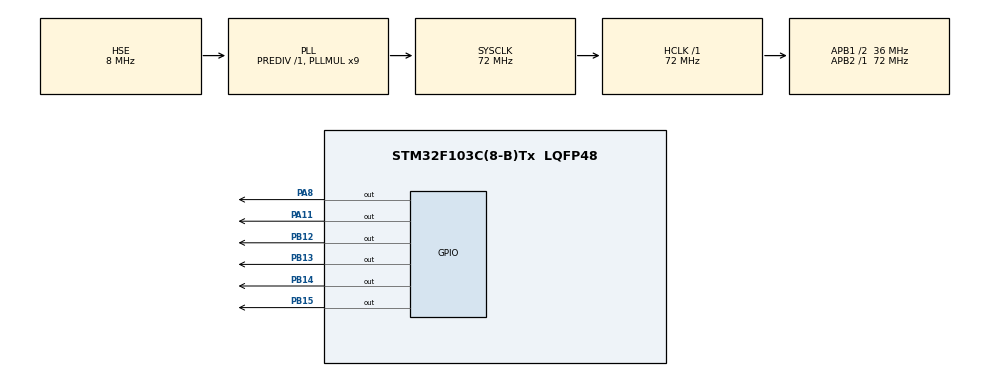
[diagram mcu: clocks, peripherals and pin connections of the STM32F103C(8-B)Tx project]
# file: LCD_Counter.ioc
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Mcu.Family=STM32F1
Mcu.Name=STM32F103C(8-B)Tx
Mcu.Package=LQFP48
NVIC.PriorityGroup=NVIC_PRIORITYGROUP_4
PA11.GPIO_ModeDefaultOutputPP=GPIO_MODE_OUTPUT_PP
PA11.GPIO_PuPd=GPIO_NOPULL
PA11.GPIO_Speed=GPIO_SPEED_FREQ_HIGH
PA11.PinState=GPIO_PIN_RESET
PA11.Signal=GPIO_Output
PA13.Mode=Serial_Wire
PA13.Signal=SYS_JTMS-SWDIO
PA14.Mode=Serial_Wire
PA14.Signal=SYS_JTCK-SWCLK
PA8.GPIO_ModeDefaultOutputPP=GPIO_MODE_OUTPUT_PP
PA8.GPIO_PuPd=GPIO_NOPULL
PA8.GPIO_Speed=GPIO_SPEED_FREQ_HIGH
PA8.PinState=GPIO_PIN_RESET
PA8.Signal=GPIO_Output
PB12.GPIO_ModeDefaultOutputPP=GPIO_MODE_OUTPUT_PP
PB12.GPIO_PuPd=GPIO_NOPULL
PB12.GPIO_Speed=GPIO_SPEED_FREQ_HIGH
PB12.PinState=GPIO_PIN_RESET
PB12.Signal=GPIO_Output
PB13.GPIO_ModeDefaultOutputPP=GPIO_MODE_OUTPUT_PP
PB13.GPIO_PuPd=GPIO_NOPULL
PB13.GPIO_Speed=GPIO_SPEED_FREQ_HIGH
PB13.PinState=GPIO_PIN_RESET
PB13.Signal=GPIO_Output
PB14.GPIO_ModeDefaultOutputPP=GPIO_MODE_OUTPUT_PP
PB14.GPIO_PuPd=GPIO_NOPULL
PB14.GPIO_Speed=GPIO_SPEED_FREQ_HIGH
PB14.PinState=GPIO_PIN_RESET
PB14.Signal=GPIO_Output
PB15.GPIO_ModeDefaultOutputPP=GPIO_MODE_OUTPUT_PP
PB15.GPIO_PuPd=GPIO_NOPULL
PB15.GPIO_Speed=GPIO_SPEED_FREQ_HIGH
PB15.PinState=GPIO_PIN_RESET
PB15.Signal=GPIO_Output
PD0-OSC_IN.Mode=HSE-External-Oscillator
PD0-OSC_IN.Signal=RCC_OSC_IN
PD1-OSC_OUT.Mode=HSE-External-Oscillator
PD1-OSC_OUT.Signal=RCC_OSC_OUT
ProjectManager.HeapSize=0x200
ProjectManager.StackSize=0x400
ProjectManager.TargetToolchain=STM32CubeIDE
RCC.AHBFreq_Value=72000000
RCC.APB1CLKDivider=RCC_HCLK_DIV2
RCC.APB1Freq_Value=36000000
RCC.APB1TimFreq_Value=72000000
RCC.APB2Freq_Value=72000000
RCC.APB2TimFreq_Value=72000000
RCC.HCLKFreq_Value=72000000
RCC.PLLMUL=RCC_PLL_MUL9
RCC.PLLSourceVirtual=RCC_PLLSOURCE_HSE
RCC.SYSCLKFreq_VALUE=72000000
RCC.SYSCLKSource=RCC_SYSCLKSOURCE_PLLCLK
RCC.USBFreq_Value=72000000
board=custom

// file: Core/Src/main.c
/* USER CODE BEGIN Header */
/**
  ******************************************************************************
  * @file           : main.c
  * @brief          : Main program body
  ******************************************************************************
  * @attention
  *
  * Copyright (c) 2024 STMicroelectronics.
  * All rights reserved.
  *
  * This software is licensed under terms that can be found in the LICENSE file
  * in the root directory of this software component.
  * If no LICENSE file comes with this software, it is provided AS-IS.
  *
  ******************************************************************************
  */
/* USER CODE END Header */
#include "main.h"

/* USER CODE BEGIN Includes */

#include <stdio.h>
#include "LCD1602_4Bits.h"

/* USER CODE END Includes */

/* USER CODE BEGIN PV */

char bufferLCD[16];
int count = 0;

/* USER CODE END PV */

void SystemClock_Config(void);
static void MX_GPIO_Init(void);

int main(void)
{

  /* MCU Configuration--------------------------------------------------------*/

  /* Reset of all peripherals, Initializes the Flash interface and the Systick. */
  HAL_Init();

  /* Configure the system clock */
  SystemClock_Config();

  /* Initialize all configured peripherals */
  MX_GPIO_Init();
  /* USER CODE BEGIN 2 */

  lcd_init();
  lcd_put_cur(0, 0);
  lcd_send_string("HELLO ");
  lcd_send_string("WORLD ");
  lcd_send_string("FROM");

  lcd_put_cur(1, 0);
  lcd_send_string("CARLOS SANDRINI.");
  HAL_Delay(2000);
  lcd_clear();

  lcd_put_cur(0, 4);
  lcd_send_string("CONTAGEM");
  lcd_put_cur(1, 6);
  lcd_send_string("0000");

  /* USER CODE END 2 */

  /* Infinite loop */
  /* USER CODE BEGIN WHILE */
  while (1)
  {
	  sprintf(bufferLCD, "%04d", count);

	  lcd_put_cur(1, 6);
	  lcd_send_string(bufferLCD);

	  count++;
	  if (count > 9999) count = 0;

	  HAL_Delay(500);

    /* USER CODE END WHILE */

  }
}

void SystemClock_Config(void)
{
  RCC_OscInitTypeDef RCC_OscInitStruct = {0};
  RCC_ClkInitTypeDef RCC_ClkInitStruct = {0};

  /** Initializes the RCC Oscillators according to the specified parameters
  * in the RCC_OscInitTypeDef structure.
  */
  RCC_OscInitStruct.OscillatorType = RCC_OSCILLATORTYPE_HSE;
  RCC_OscInitStruct.HSEState = RCC_HSE_ON;
  RCC_OscInitStruct.HSEPredivValue = RCC_HSE_PREDIV_DIV1;
  RCC_OscInitStruct.HSIState = RCC_HSI_ON;
  RCC_OscInitStruct.PLL.PLLState = RCC_PLL_ON;
  RCC_OscInitStruct.PLL.PLLSource = RCC_PLLSOURCE_HSE;
  RCC_OscInitStruct.PLL.PLLMUL = RCC_PLL_MUL9;
  if (HAL_RCC_OscConfig(&RCC_OscInitStruct) != HAL_OK)
  {
    Error_Handler();
  }

  /** Initializes the CPU, AHB and APB buses clocks
  */
  RCC_ClkInitStruct.ClockType = RCC_CLOCKTYPE_HCLK|RCC_CLOCKTYPE_SYSCLK
                              |RCC_CLOCKTYPE_PCLK1|RCC_CLOCKTYPE_PCLK2;
  RCC_ClkInitStruct.SYSCLKSource = RCC_SYSCLKSOURCE_PLLCLK;
  RCC_ClkInitStruct.AHBCLKDivider = RCC_SYSCLK_DIV1;
  RCC_ClkInitStruct.APB1CLKDivider = RCC_HCLK_DIV2;
  RCC_ClkInitStruct.APB2CLKDivider = RCC_HCLK_DIV1;

  if (HAL_RCC_ClockConfig(&RCC_ClkInitStruct, FLASH_LATENCY_2) != HAL_OK)
  {
    Error_Handler();
  }
}

static void MX_GPIO_Init(void)
{
  GPIO_InitTypeDef GPIO_InitStruct = {0};

  /* GPIO Ports Clock Enable */
  __HAL_RCC_GPIOD_CLK_ENABLE();
  __HAL_RCC_GPIOB_CLK_ENABLE();
  __HAL_RCC_GPIOA_CLK_ENABLE();

  /*Configure GPIO pin Output Level */
  HAL_GPIO_WritePin(GPIOB, GPIO_PIN_12|GPIO_PIN_13|GPIO_PIN_14|GPIO_PIN_15, GPIO_PIN_RESET);

  /*Configure GPIO pin Output Level */
  HAL_GPIO_WritePin(GPIOA, GPIO_PIN_8|GPIO_PIN_11, GPIO_PIN_RESET);

  /*Configure GPIO pins : PB12 PB13 PB14 PB15 */
  GPIO_InitStruct.Pin = GPIO_PIN_12|GPIO_PIN_13|GPIO_PIN_14|GPIO_PIN_15;
  GPIO_InitStruct.Mode = GPIO_MODE_OUTPUT_PP;
  GPIO_InitStruct.Pull = GPIO_NOPULL;
  GPIO_InitStruct.Speed = GPIO_SPEED_FREQ_HIGH;
  HAL_GPIO_Init(GPIOB, &GPIO_InitStruct);

  /*Configure GPIO pins : PA8 PA11 */
  GPIO_InitStruct.Pin = GPIO_PIN_8|GPIO_PIN_11;
  GPIO_InitStruct.Mode = GPIO_MODE_OUTPUT_PP;
  GPIO_InitStruct.Pull = GPIO_NOPULL;
  GPIO_InitStruct.Speed = GPIO_SPEED_FREQ_HIGH;
  HAL_GPIO_Init(GPIOA, &GPIO_InitStruct);

}

void Error_Handler(void)
{
  __disable_irq();
  while (1)
  {
  }
}
